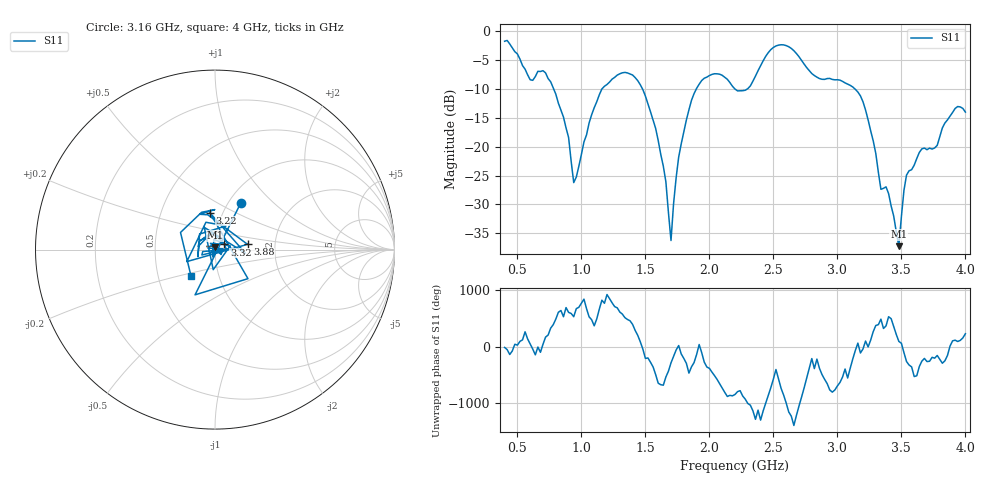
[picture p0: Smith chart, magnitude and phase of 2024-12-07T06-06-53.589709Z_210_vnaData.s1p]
!Created with skrf (http://scikit-rf.org).
# Hz S RI R 50.0
!freq ReS11 ImS11
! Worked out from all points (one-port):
!   181 points, 400 MHz to 4 GHz, reference 50 ohm
!   lowest |S11| = -37.2 dB at 3.48 GHz (marker M1), VSWR 1.03, Z = 49.9 + j1.38 ohm
!   |S11| at or under -10 dB: 783.2 MHz to 1.16 GHz (377 MHz wide, 38.8 % of centre); 1.477 GHz to 1.898 GHz (420.5 MHz wide, 24.9 % of centre); 3.137 GHz to end of sweep (the widest 3 of 4)
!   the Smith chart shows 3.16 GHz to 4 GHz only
!   S11 on the Smith chart (normalised r, x): 3.16 GHz: 1.14, +0.65; 3.22 GHz: 0.87, +0.37; 3.32 GHz: 1.11, +0.06; 3.88 GHz: 1.44, +0.09; 4 GHz: 0.73, -0.23
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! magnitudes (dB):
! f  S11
! 400 MHz  -1.7
! 600 MHz  -8.4
! 720 MHz  -7.2
! 860 MHz  -14.9
! 940 MHz  -26.2
! 1.14 GHz  -11.0
! 1.3 GHz  -7.4
! 1.44 GHz  -8.6
! 1.58 GHz  -16.8
! 1.66 GHz  -26.1
! 1.7 GHz  -36.2
! 1.76 GHz  -21.8
! 1.86 GHz  -12.0
! 1.94 GHz  -8.5
! 2.2 GHz  -10.0
! 2.32 GHz  -9.5
! 2.5 GHz  -2.8
! 2.66 GHz  -3.4
! 3.1 GHz  -9.4
! 3.16 GHz  -10.5
! 3.22 GHz  -13.6
! 3.32 GHz  -24.4
! 3.4 GHz  -28.1
! 3.48 GHz  -37.2
! 3.52 GHz  -27.6
! 3.56 GHz  -24.2
! 3.88 GHz  -14.7
! 4 GHz  -14.0
